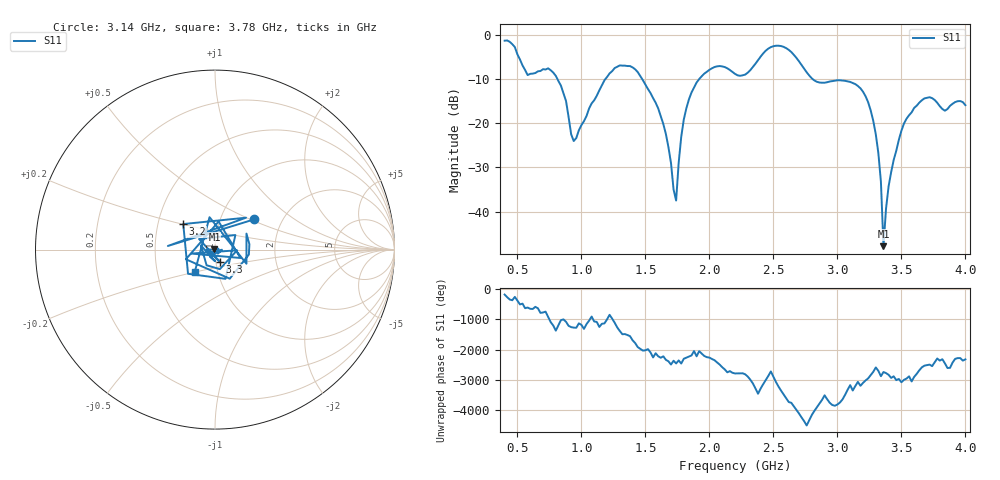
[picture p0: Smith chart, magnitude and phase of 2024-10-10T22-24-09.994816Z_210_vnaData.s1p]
! Created with skrf (http://scikit-rf.org).
# Hz S RI R 50.0
!freq ReS11 ImS11
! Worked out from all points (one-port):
!   181 points, 400 MHz to 4 GHz, reference 50 ohm
!   lowest |S11| = -47.8 dB at 3.36 GHz (marker M1), VSWR 1.01, Z = 49.7 + j0.254 ohm
!   |S11| at or under -10 dB: 812.2 MHz to 1.188 GHz (375.9 MHz wide, 37.6 % of centre); 1.474 GHz to 1.921 GHz (446.2 MHz wide, 26.3 % of centre); 2.806 GHz to end of sweep
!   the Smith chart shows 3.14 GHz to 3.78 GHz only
!   S11 on the Smith chart (normalised r, x): 3.14 GHz: 1.45, +0.53; 3.2 GHz: 0.67, +0.20; 3.3 GHz: 1.05, -0.15; 3.78 GHz: 0.77, -0.20
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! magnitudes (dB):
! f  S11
! 400 MHz  -1.3
! 580 MHz  -9.1
! 740 MHz  -7.6
! 860 MHz  -13.2
! 940 MHz  -24.0
! 1.3 GHz  -6.9
! 1.44 GHz  -8.4
! 1.6 GHz  -16.7
! 1.66 GHz  -22.4
! 1.74 GHz  -37.5
! 1.76 GHz  -28.9
! 1.8 GHz  -19.2
! 1.9 GHz  -10.8
! 2.2 GHz  -8.8
! 2.5 GHz  -2.6
! 2.66 GHz  -4.6
! 2.84 GHz  -10.6
! 3.1 GHz  -10.7
! 3.14 GHz  -11.2
! 3.2 GHz  -12.9
! 3.3 GHz  -22.5
! 3.34 GHz  -33.2
! 3.36 GHz  -47.8
! 3.38 GHz  -39.3
! 3.42 GHz  -31.1
! 3.56 GHz  -18.2
! 3.78 GHz  -15.4
! 4 GHz  -15.9
